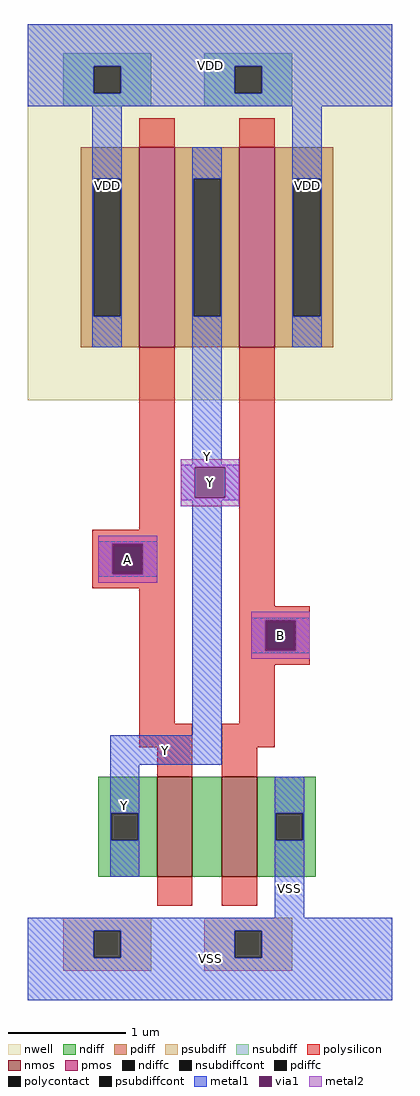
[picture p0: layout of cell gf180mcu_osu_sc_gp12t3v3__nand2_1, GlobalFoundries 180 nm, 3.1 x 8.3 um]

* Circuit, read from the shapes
.subckt gf180mcu_osu_sc_gp12t3v3__nand2_1 A B Y VDD VSS
XM1 n1 A Y VSS nfet_03v3 w=0.85u l=0.3u
XM2 VSS B n1 VSS nfet_03v3 w=0.85u l=0.3u
XM3 Y A VDD VDD pfet_03v3 w=1.7u l=0.3u
XM4 VDD B Y VDD pfet_03v3 w=1.7u l=0.3u
.ends

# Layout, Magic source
magic
tech gf180mcuA
magscale 1 10
<< nwell >>
rect 0 1020 620 1660
<< nmos >>
rect 220 210 280 380
rect 330 210 390 380
<< pmos >>
rect 190 1110 250 1450
rect 360 1110 420 1450
<< ndiff >>
rect 120 318 220 380
rect 120 272 142 318
rect 188 272 220 318
rect 120 210 220 272
rect 280 210 330 380
rect 390 318 490 380
rect 390 272 422 318
rect 468 272 490 318
rect 390 210 490 272
<< pdiff >>
rect 90 1397 190 1450
rect 90 1163 112 1397
rect 158 1163 190 1397
rect 90 1110 190 1163
rect 250 1397 360 1450
rect 250 1163 282 1397
rect 328 1163 360 1397
rect 250 1110 360 1163
rect 420 1397 520 1450
rect 420 1163 452 1397
rect 498 1163 520 1397
rect 420 1110 520 1163
<< ndiffc >>
rect 142 272 188 318
rect 422 272 468 318
<< pdiffc >>
rect 112 1163 158 1397
rect 282 1163 328 1397
rect 452 1163 498 1397
<< psubdiff >>
rect 60 118 210 140
rect 60 72 112 118
rect 158 72 210 118
rect 60 50 210 72
rect 300 118 450 140
rect 300 72 352 118
rect 398 72 450 118
rect 300 50 450 72
<< nsubdiff >>
rect 60 1588 210 1610
rect 60 1542 112 1588
rect 158 1542 210 1588
rect 60 1520 210 1542
rect 300 1588 450 1610
rect 300 1542 352 1588
rect 398 1542 450 1588
rect 300 1520 450 1542
<< psubdiffcont >>
rect 112 72 158 118
rect 352 72 398 118
<< nsubdiffcont >>
rect 112 1542 158 1588
rect 352 1542 398 1588
<< polysilicon >>
rect 190 1450 250 1500
rect 360 1450 420 1500
rect 190 800 250 1110
rect 110 773 250 800
rect 110 727 147 773
rect 193 727 250 773
rect 110 700 250 727
rect 190 470 250 700
rect 360 670 420 1110
rect 360 643 480 670
rect 360 597 407 643
rect 453 597 480 643
rect 360 570 480 597
rect 360 470 420 570
rect 190 430 280 470
rect 220 380 280 430
rect 330 430 420 470
rect 330 380 390 430
rect 220 160 280 210
rect 330 160 390 210
<< polycontact >>
rect 147 727 193 773
rect 407 597 453 643
<< metal1 >>
rect 0 1588 620 1660
rect 0 1542 112 1588
rect 158 1542 352 1588
rect 398 1542 620 1588
rect 0 1520 620 1542
rect 110 1397 160 1520
rect 110 1163 112 1397
rect 158 1163 160 1397
rect 110 1110 160 1163
rect 280 1397 330 1450
rect 280 1163 282 1397
rect 328 1163 330 1397
rect 280 910 330 1163
rect 450 1397 500 1520
rect 450 1163 452 1397
rect 498 1163 500 1397
rect 450 1110 500 1163
rect 260 906 360 910
rect 260 854 284 906
rect 336 854 360 906
rect 260 850 360 854
rect 120 776 220 780
rect 120 724 144 776
rect 196 724 220 776
rect 120 720 220 724
rect 280 450 330 850
rect 380 646 480 650
rect 380 594 404 646
rect 456 594 480 646
rect 380 590 480 594
rect 140 400 330 450
rect 140 318 190 400
rect 140 272 142 318
rect 188 272 190 318
rect 140 210 190 272
rect 420 318 470 380
rect 420 272 422 318
rect 468 272 470 318
rect 420 140 470 272
rect 0 118 620 140
rect 0 72 112 118
rect 158 72 352 118
rect 398 72 620 118
rect 0 0 620 72
<< via1 >>
rect 284 854 336 906
rect 144 773 196 776
rect 144 727 147 773
rect 147 727 193 773
rect 193 727 196 773
rect 144 724 196 727
rect 404 643 456 646
rect 404 597 407 643
rect 407 597 453 643
rect 453 597 456 643
rect 404 594 456 597
<< metal2 >>
rect 260 906 360 920
rect 260 854 284 906
rect 336 854 360 906
rect 260 840 360 854
rect 120 776 220 790
rect 120 724 144 776
rect 196 724 220 776
rect 120 710 220 724
rect 380 646 480 660
rect 380 594 404 646
rect 456 594 480 646
rect 380 580 480 594
<< labels >>
rlabel via1 s 144 724 196 776 4 A
port 1 nsew signal input
rlabel via1 s 404 594 456 646 4 B
port 2 nsew signal input
rlabel via1 s 284 854 336 906 4 Y
port 3 nsew signal output
rlabel metal1 s 110 1110 160 1660 4 VDD
port 4 nsew power bidirectional abutment
rlabel metal1 s 420 0 470 380 4 VSS
port 5 nsew ground bidirectional abutment
rlabel metal1 s 450 1110 500 1660 1 VDD
port 4 nsew power bidirectional abutment
rlabel metal1 s 0 1520 620 1660 1 VDD
port 4 nsew power bidirectional abutment
rlabel metal1 s 0 0 620 140 1 VSS
port 5 nsew ground bidirectional abutment
rlabel metal2 s 120 710 220 790 1 A
port 1 nsew signal input
rlabel metal1 s 120 720 220 780 1 A
port 1 nsew signal input
rlabel metal2 s 380 580 480 660 1 B
port 2 nsew signal input
rlabel metal1 s 380 590 480 650 1 B
port 2 nsew signal input
rlabel metal2 s 260 840 360 920 1 Y
port 3 nsew signal output
rlabel metal1 s 140 210 190 450 1 Y
port 3 nsew signal output
rlabel metal1 s 140 400 330 450 1 Y
port 3 nsew signal output
rlabel metal1 s 280 400 330 1450 1 Y
port 3 nsew signal output
rlabel metal1 s 260 850 360 910 1 Y
port 3 nsew signal output
<< properties >>
string FIXED_BBOX 0 0 620 1660
string GDS_END 468572
string GDS_FILE $PDKPATH/libs.ref/gf180mcu_osu_sc_gp12t3v3/gds/gf180mcu_osu_sc_gp12t3v3.gds
string GDS_START 464406
string LEFclass CORE
string LEFsite gf180mcu_osu_sc_gp12t3v3
string LEFsymmetry X Y
<< end >>
